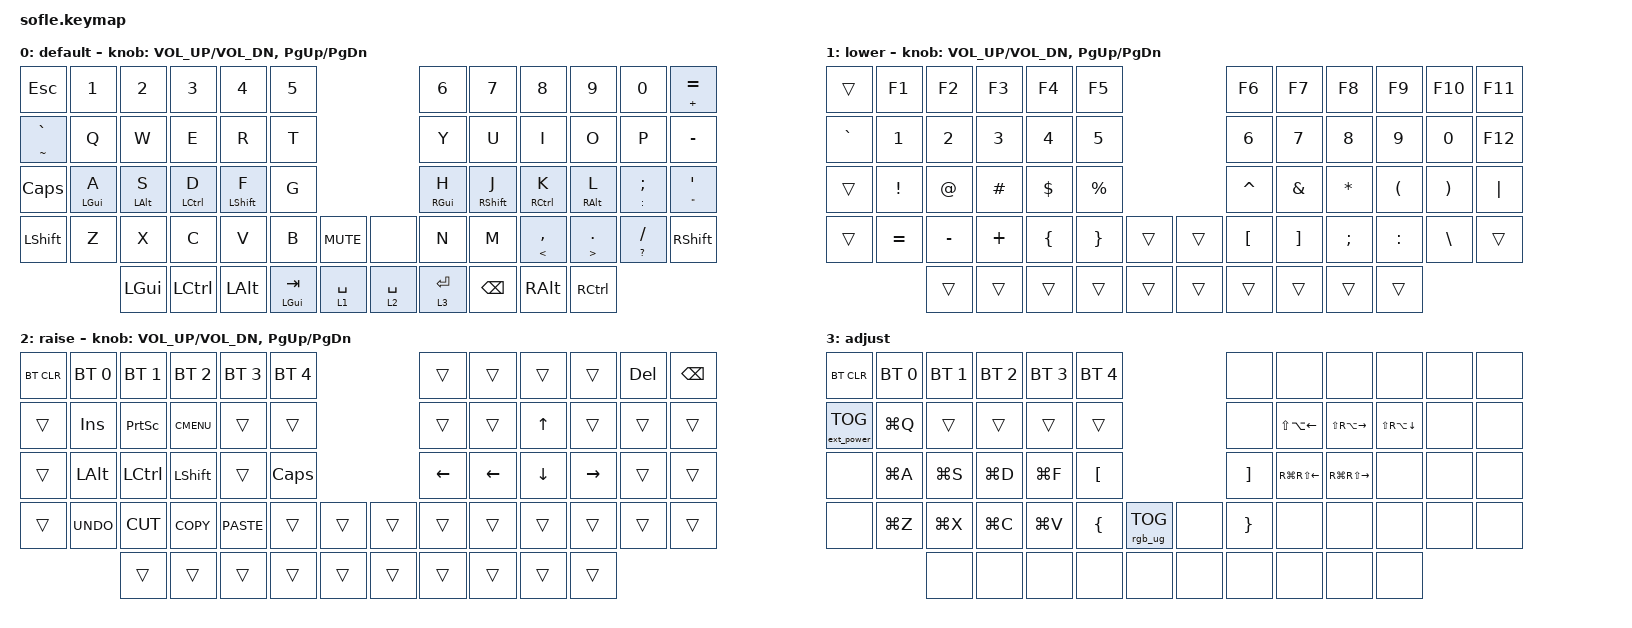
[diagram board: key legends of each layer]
/*
 * Copyright (c) 2020 The ZMK Contributors
 *
 * SPDX-License-Identifier: MIT
 */

#include <behaviors.dtsi>
#include <dt-bindings/zmk/bt.h>
#include <dt-bindings/zmk/ext_power.h>
#include <dt-bindings/zmk/keys.h>
#include <dt-bindings/zmk/rgb.h>

#define BASE 0
#define LOWER 1
#define RAISE 2
#define ADJUST 3

/ {
    // Activate ADJUST layer by pressing raise and lower

    conditional_layers {
        compatible = "zmk,conditional-layers";

        adjust_layer {
            if-layers = <LOWER RAISE>;
            then-layer = <ADJUST>;
        };
    };

    behaviors {
        hm: homerow_mods {
            compatible = "zmk,behavior-hold-tap";
            label = "HOMEROW_MODS";
            bindings = <&kp>, <&kp>;

            #binding-cells = <2>;
            tapping-term-ms = <200>;
            quick-tap-ms = <180>;
        };

        as: auto_shift {
            compatible = "zmk,behavior-hold-tap";
            label = "AUTO_SHIFT";
            bindings = <&kp>, <&kp>;

            #binding-cells = <2>;
            tapping-term-ms = <135>;
            quick-tap-ms = <0>;
        };

        ltq: ltq {
            compatible = "zmk,behavior-hold-tap";
            label = "LTQ";
            bindings = <&mo>, <&kp>;

            #binding-cells = <2>;
            tapping-term-ms = <200>;
            quick-tap-ms = <180>;
        };
    };

    combos {
        compatible = "zmk,combos";

        left_bkt {
            bindings = <&kp LEFT_BRACKET>;
            key-positions = <16 15>;
        };

        esc {
            bindings = <&kp ESCAPE>;
            key-positions = <12 13>;
        };

        right_bkt {
            bindings = <&kp RIGHT_BRACKET>;
            key-positions = <19 20>;
        };

        left_parc {
            bindings = <&kp LEFT_PARENTHESIS>;
            key-positions = <27 28>;
        };

        right_par {
            bindings = <&kp RIGHT_PARENTHESIS>;
            key-positions = <31 32>;
        };

        left_brace {
            bindings = <&kp LEFT_BRACE>;
            key-positions = <39 40>;
        };

        right_brace {
            bindings = <&kp RIGHT_BRACE>;
            key-positions = <45 46>;
        };

        bac {
            bindings = <&kp BACKSLASH>;
            key-positions = <17 18>;
        };

        pipe {
            bindings = <&kp PIPE>;
            key-positions = <29 30>;
        };
    };

    keymap {
        compatible = "zmk,keymap";

        default_layer {
            display-name = "default";

            // ------------------------------------------------------------------------------------------------------------
            // |   `   |  1  |  2  |  3   |  4   |  5   |                   |  6   |  7    |  8    |  9   |   0   |       |
            // |  ESC  |  Q  |  W  |  E   |  R   |  T   |                   |  Y   |  U    |  I    |  O   |   P   | BKSPC |
            // |  TAB  |  A  |  S  |  D   |  F   |  G   |                   |  H   |  J    |  K    |  L   |   ;   |   '   |
            // | SHIFT |  Z  |  X  |  C   |  V   |  B   |  MUTE  |  |       |  N   |  M    |  ,    |  .   |   /   | SHIFT |
            //               | GUI | ALT  | CTRL | LOWER|  ENTER |  | SPACE | RAISE| CTRL  | ALT   | GUI  |

            bindings = <
&kp ESCAPE       &kp N1          &kp N2          &kp N3              &kp N4            &kp N5                                        &kp N6           &kp N7             &kp N8               &kp N9                   &kp N0               &as PLUS EQUAL
&as TILDE GRAVE  &kp Q           &kp W           &kp E               &kp R             &kp T                                         &kp Y            &kp U              &kp I                &kp O                    &kp P                &kp MINUS
&kp CAPSLOCK     &hm LEFT_GUI A  &hm LEFT_ALT S  &hm LEFT_CONTROL D  &hm LEFT_SHIFT F  &kp G                                         &hm RIGHT_GUI H  &hm RIGHT_SHIFT J  &hm RIGHT_CONTROL K  &hm RIGHT_ALT L          &as COLON SEMICOLON  &as DOUBLE_QUOTES SINGLE_QUOTE
&kp LSHFT        &kp Z           &kp X           &kp C               &kp V             &kp B             &kp C_MUTE     &none        &kp N            &kp M              &as LESS_THAN COMMA  &as GREATER_THAN PERIOD  &as QUESTION SLASH   &kp RSHFT
                                 &kp LEFT_GUI    &kp LEFT_CONTROL    &kp LEFT_ALT      &hm LEFT_GUI TAB  &lt 1 SPACE    &lt 2 SPACE  &lt 3 ENTER      &kp BACKSPACE      &kp RALT             &kp RCTRL
            >;

            sensor-bindings = <&inc_dec_kp C_VOL_UP C_VOL_DN &inc_dec_kp PG_UP PG_DN>;
        };

        lower_layer {
            display-name = "lower";

            // TODO: Some binds are waiting for shifted keycode support.
            // ------------------------------------------------------------------------------------------------------------
            // |       |  F1 |  F2 |  F3  |  F4  |  F5  |                   |  F6  |  F7   |  F8   |  F9  |  F10  |  F11  |
            // |   `   |  1  |  2  |  3   |  4   |  5   |                   |  6   |  7    |  8    |  9   |   0   |  F12  |
            // |       |  !  |  @  |  #   |  $   |  %   |                   |  ^   |  &    |  *    |  (   |   )   |   |   |
            // |       |  =  |  -  |  +   |  {   |  }   |        |  |       |  [   |  ]    |  ;    |  :   |   \   |       |
            //               |     |      |      |      |        |  |       |      |       |       |      |

            bindings = <
&trans     &kp F1     &kp F2     &kp F3    &kp F4    &kp F5                       &kp F6     &kp F7    &kp F8     &kp F9     &kp F10   &kp F11
&kp GRAVE  &kp N1     &kp N2     &kp N3    &kp N4    &kp N5                       &kp N6     &kp N7    &kp N8     &kp N9     &kp N0    &kp F12
&trans     &kp EXCL   &kp AT     &kp HASH  &kp DLLR  &kp PRCNT                    &kp CARET  &kp AMPS  &kp ASTRK  &kp LPAR   &kp RPAR  &kp PIPE
&trans     &kp EQUAL  &kp MINUS  &kp PLUS  &kp LBRC  &kp RBRC   &trans    &trans  &kp LBKT   &kp RBKT  &kp SEMI   &kp COLON  &kp BSLH  &trans
                      &trans     &trans    &trans    &trans     &trans    &trans  &trans     &trans    &trans     &trans
            >;

            sensor-bindings = <&inc_dec_kp C_VOL_UP C_VOL_DN &inc_dec_kp PG_UP PG_DN>;
        };

        raise_layer {
            display-name = "raise";

            // ------------------------------------------------------------------------------------------------------------
            // | BTCLR | BT1  | BT2  |  BT3  |  BT4  |  BT5 |                |      |      |       |      |       |       |
            // |       | INS  | PSCR | GUI   |       |      |                | PGUP |      |   ^   |      |       |       |
            // |       | ALT  | CTRL | SHIFT |       | CAPS |                | PGDN |   <- |   v   |  ->  |  DEL  | BKSPC |
            // |       | UNDO | CUT  | COPY  | PASTE |      |      |  |      |      |      |       |      |       |       |
            //                |      |       |       |      |      |  |      |      |      |       |      |

            bindings = <
&bt BT_CLR  &bt BT_SEL 0  &bt BT_SEL 1  &bt BT_SEL 2  &bt BT_SEL 3  &bt BT_SEL 4                    &trans    &trans          &trans          &trans     &kp DELETE  &kp BACKSPACE
&trans      &kp INS       &kp PSCRN     &kp K_CMENU   &trans        &trans                          &trans    &trans          &kp UP          &trans     &trans      &trans
&trans      &kp LALT      &kp LCTRL     &kp LSHFT     &trans        &kp CLCK                        &kp LEFT  &kp LEFT_ARROW  &kp DOWN_ARROW  &kp RIGHT  &trans      &trans
&trans      &kp K_UNDO    &kp K_CUT     &kp K_COPY    &kp K_PASTE   &trans        &trans    &trans  &trans    &trans          &trans          &trans     &trans      &trans
                          &trans        &trans        &trans        &trans        &trans    &trans  &trans    &trans          &trans          &trans
            >;

            sensor-bindings = <&inc_dec_kp C_VOL_UP C_VOL_DN &inc_dec_kp PG_UP PG_DN>;
        };

        adjust_layer {
            // ----------------------------------------------------------------------------------------------------------------------------
            // | BTCLR  |  BT1    |  BT2    |   BT3   |   BT4   |   BT5   |                  |      |      |       |      |       |       |
            // | EXTPWR | RGB_HUD | RGB_HUI | RGB_SAD | RGB_SAI | RGB_EFF |                  |      |      |       |      |       |       |
            // |        | RGB_BRD | RGB_BRI |         |         |         |                  |      |      |       |      |       |       |
            // |        |         |         |         |         |         | RGB_TOG | |      |      |      |       |      |       |       |
            //                    |         |         |         |         |         | |      |      |      |       |      |

            display-name = "adjust";
            bindings = <
&bt BT_CLR         &bt BT_SEL 0  &bt BT_SEL 1  &bt BT_SEL 2  &bt BT_SEL 3  &bt BT_SEL 4                                &none              &none                   &none                    &none                   &none  &none
&ext_power EP_TOG  &kp LG(Q)     &trans        &trans        &trans        &trans                                      &none              &kp LS(LA(LEFT_ARROW))  &kp LS(RA(RIGHT_ARROW))  &kp LS(RA(DOWN_ARROW))  &none  &none
&none              &kp LG(A)     &kp LG(S)     &kp LG(D)     &kp LG(F)     &kp LEFT_BRACKET                            &kp RIGHT_BRACKET  &kp RG(RS(LEFT_ARROW))  &kp RG(RS(RIGHT_ARROW))  &none                   &none  &none
&none              &kp LG(Z)     &kp LG(X)     &kp LG(C)     &kp LG(V)     &kp LEFT_BRACE    &rgb_ug RGB_TOG    &none  &kp RIGHT_BRACE    &none                   &none                    &none                   &none  &none
                                 &none         &none         &none         &none             &none              &none  &none              &none                   &none                    &none
            >;
        };
    };
};
